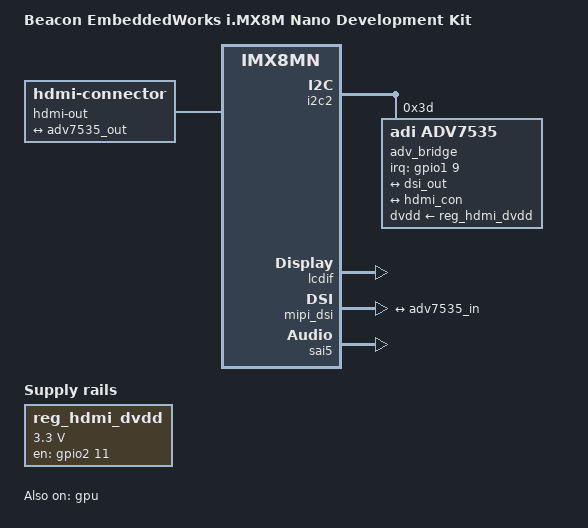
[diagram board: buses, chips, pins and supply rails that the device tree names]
// SPDX-License-Identifier: (GPL-2.0 OR MIT)
/*
 * Copyright 2021 Logic PD, Inc. DBA BeaconEmbeddedWorks
 */

/dts-v1/;

#include "imx8mn.dtsi"
#include "imx8mn-beacon-som.dtsi"
#include "imx8mn-beacon-baseboard.dtsi"

/ {
	model = "Beacon EmbeddedWorks i.MX8M Nano Development Kit";
	compatible = "beacon,imx8mn-beacon-kit", "fsl,imx8mn";

	chosen {
		stdout-path = &uart2;
	};

	hdmi-out {
		compatible = "hdmi-connector";
		type = "a";

		port {
			hdmi_con: endpoint {
				remote-endpoint = <&adv7535_out>;
			};
		};
	};

	reg_hdmi_dvdd: regulator-hdmi-dvdd {
		pinctrl-names = "default";
		pinctrl-0 = <&pinctrl_hdmi>;
		compatible = "regulator-fixed";
		regulator-name = "hdmi_pwr_en";
		regulator-min-microvolt = <3300000>;
		regulator-max-microvolt = <3300000>;
		gpio = <&gpio2 11 GPIO_ACTIVE_HIGH>;
		enable-active-high;
		startup-delay-us = <70000>;
	};

	hdmi_sound: hdmi-sound {
		compatible = "simple-audio-card";
		simple-audio-card,name = "hdmi-sound";
		simple-audio-card,format = "i2s";
		#sound-dai-cells = <0>;
		simple-audio-card,cpu {
			sound-dai = <&sai5 0>;
			system-clock-direction-out;
		};
		simple-audio-card,codec {
			sound-dai = <&adv_bridge 0>;
		};
	};
};

&gpu {
	status = "okay";
};

&i2c2 {
	adv_bridge: adv7535@3d {
		compatible = "adi,adv7535";
		reg = <0x3d>;
		adi,addr-cec = <0x3b>;
		adi,dsi-lanes = <4>;
		dvdd-supply = <&reg_hdmi_dvdd>;
		pinctrl-names = "default";
		pinctrl-0 = <&pinctrl_hdmi_bridge>;
		interrupt-parent = <&gpio1>;
		interrupts = <9 IRQ_TYPE_LEVEL_LOW>;
		#sound-dai-cells = <0>;
		status = "okay";

		ports {
			#address-cells = <1>;
			#size-cells = <0>;

			port@0 {
				reg = <0>;
				adv7535_in: endpoint {
					remote-endpoint = <&dsi_out>;
				};
			};

			port@1 {
				reg = <1>;
				adv7535_out: endpoint {
					remote-endpoint = <&hdmi_con>;
				};
			};
		};
	};
};

&lcdif {
        status = "okay";
};

&mipi_dsi {
	status = "okay";

	port@1 {
		reg = <1>;

		dsi_out: endpoint {
			remote-endpoint = <&adv7535_in>;
			attach-bridge;
		};
	};
};

&sai5 {
	pinctrl-names = "default";
	pinctrl-0 = <&pinctrl_sai5>;
	assigned-clocks = <&clk IMX8MN_CLK_SAI5>;
	assigned-clock-parents = <&clk IMX8MN_AUDIO_PLL1_OUT>;
	assigned-clock-rates = <24576000>;
	#sound-dai-cells = <0>;
	status = "okay";
};

&iomuxc {
	pinctrl_hdmi: hdmigrp {
		fsl,pins = <
			MX8MN_IOMUXC_SD1_STROBE_GPIO2_IO11              0x16
		>;
	};

	pinctrl_sai5: sai5grp {
		fsl,pins = <
			MX8MN_IOMUXC_SAI5_RXD3_SAI5_TX_DATA0	0xd6
			MX8MN_IOMUXC_SAI5_RXD2_SAI5_TX_BCLK	0xd6
			MX8MN_IOMUXC_SAI5_RXD1_SAI5_TX_SYNC	0xd6
		>;
	};

	pinctrl_hdmi_bridge: synaptics_dsx_iogrp {
		fsl,pins = <
			MX8MN_IOMUXC_GPIO1_IO09_GPIO1_IO9		0x19
		>;
	};
};
